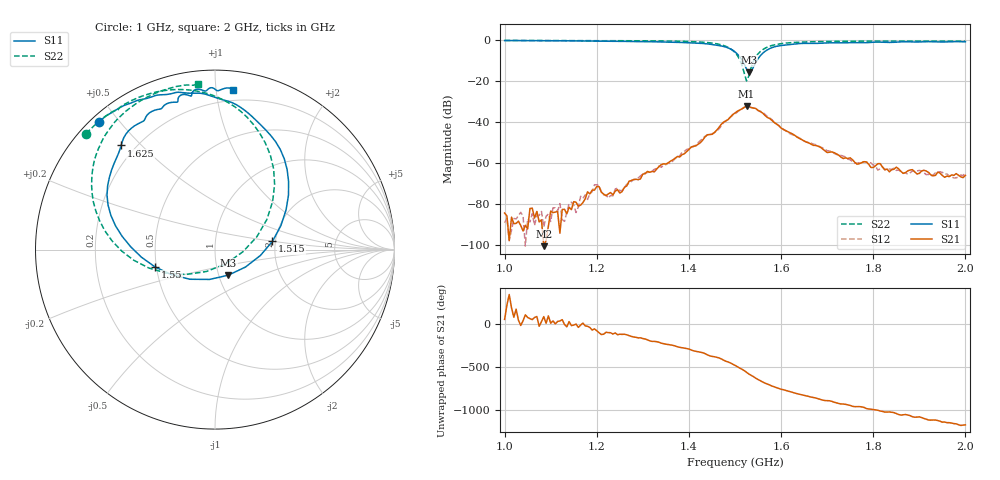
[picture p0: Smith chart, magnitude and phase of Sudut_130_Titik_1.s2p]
# Hz S RI R 50
! CMT, C1220, 16058040, 17.2.0/1
! Date: 14/08/2018 12:55:46
! Data: Format (Calibration Info)
! Freq  S11: Re/Im (F2)  S21: Re/Im (F2)  S12: Re/Im (F2)  S22: Re/Im (F2)
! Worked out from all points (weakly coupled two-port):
!   201 points, 1 GHz to 2 GHz, reference 50 ohm
!   highest |S21| = -32.33 dB at 1.525 GHz (marker M1); lowest = -100.5 dB at 1.085 GHz (marker M2)
!   lowest |S11| = -15.9 dB at 1.53 GHz (marker M3), VSWR 1.38, Z = 55.5 - j16.2 ohm
!   |S11| at or under -10 dB: 1.515 GHz to 1.548 GHz (32.34 MHz wide, 2.11 % of centre)
!   |S22| runs from -20.0 to -0.3 dB; largest |S21 - S12| = 0.00099
!   S11 on the Smith chart (normalised r, x): 1 GHz: 0.02, +0.44; 1.515 GHz: 1.93, +0.20; 1.55 GHz: 0.49, -0.11; 1.625 GHz: 0.15, +0.44; 2 GHz: 0.12, +1.11
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1e9  -0.6461 0.7134  3.99e-05 4.54e-05  3.48e-05 3.69e-06  -0.7191 0.6457
1.085e9  -0.5509 0.7781  1.45e-06 9.31e-06  1.22e-05 2.49e-05  -0.6546 0.7064
1.17e9  -0.4552 0.8219  0.000108 9.55e-06  0.000119 -7e-05  -0.5768 0.7655
1.18e9  -0.4405 0.8282  0.00017 -0.000102  0.000121 -4.65e-05  -0.5656 0.7714
1.2e9  -0.4101 0.8361  3.38e-05 -0.000266  2.23e-06 -0.000295  -0.543 0.7775
1.225e9  -0.3728 0.8444  -4.45e-05 -0.00017  -4.76e-05 -0.000131  -0.5255 0.7956
1.25e9  -0.3314 0.8587  -0.000102 -0.000155  -0.000122 -0.000176  -0.4948 0.8151
1.335e9  -0.1758 0.8736  -0.000653 0.000488  -0.000617 0.000576  -0.3599 0.8698
1.45e9  0.2038 0.7439  0.00467 -0.00174  0.0047 -0.00207  0.0459 0.8338
1.5e9  0.4095 0.304  -0.00951 -0.0135  -0.00895 -0.0127  0.3322 0.3625
1.515e9  0.3203 0.0463  -0.0204 -0.00361  -0.0205 -0.00416  0.2333 0.0718
1.525e9  0.1703 -0.0969  -0.0219 0.0103  -0.0221 0.0103  0.0613 -0.0787
1.53e9  0.074 -0.1426  -0.0164 0.0165  -0.0165 0.0166  -0.0486 -0.1221
1.55e9  -0.3334 -0.097  0.00637 0.018  0.00569 0.0183  -0.4521 -0.0595
1.58e9  -0.5959 0.248  0.0109 -0.000856  0.0113 -0.00134  -0.6778 0.266
1.625e9  -0.5229 0.5802  0.000903 -0.00501  0.00101 -0.00476  -0.6492 0.5625
1.67e9  -0.4056 0.7118  -0.00199 -0.00182  -0.00216 -0.00191  -0.5658 0.701
1.76e9  -0.2437 0.8199  -0.000451 0.000935  -0.000508 0.000843  -0.4205 0.8255
1.815e9  -0.1693 0.8644  0.00041 0.000876  0.000349 0.000636  -0.3421 0.867
1.835e9  -0.1333 0.8549  0.000357 0.000496  0.000459 0.00055  -0.3151 0.8781
1.975e9  0.0633 0.9002  7.77e-05 -0.000495  8.79e-05 -0.000423  -0.1248 0.9154
2e9  0.1001 0.8918  -5.34e-05 -0.000497  -0.000108 -0.000562  -0.0974 0.9222
